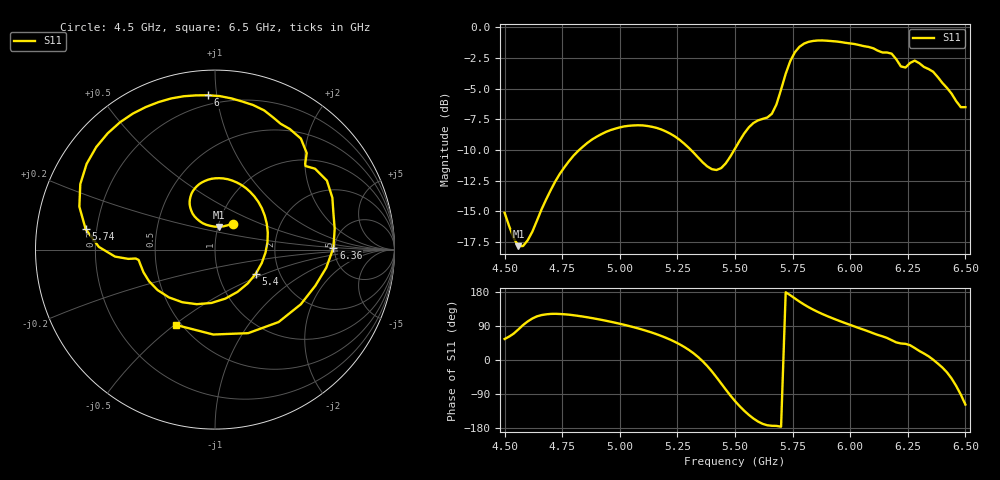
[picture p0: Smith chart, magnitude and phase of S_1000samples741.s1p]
! TOUCHSTONE file generated by CST MICROWAVE STUDIO
! Date and time: Sat Oct 29 05:40:44 2022
! Project name: L.cst
! Parameters = {Di=1.27; Epsilon_r=1.56; InnerDiameter=1.27; Length=2; Lf=10; Lg=60; OuterConductorThickness=0.2921; OuterDiameter=3.6; Wf=3; Wp=41.2; de=1.5; df=6.8; g=0.8; gx=0.809952; gy=1.67679; h=2.34; hf=1.524; px=12.5847; py=8.03278; w=9.7; wx=11.7748; wy=6.35599}
! Header version: 2018
! Port assignment regex: !\s*Touchstone port\s*([0-9]+)\s*=\s*(CST MWS port|CST DS port)\s*([0-9]+|Zmin|Zmax)\s*\(\"(.*)\"\)(\s*mode\s*([0-9]+))?.*
! Touchstone port assignment:
! Touchstone port 1 = CST MWS port 1 ("")
# GHz S DB R 50
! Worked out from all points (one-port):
!   101 points, 4.5 GHz to 6.5 GHz, reference 50 ohm
!   lowest |S11| = -17.8 dB at 4.56 GHz (marker M1), VSWR 1.29, Z = 50.4 + j13 ohm
!   |S11| at or under -10 dB: start of sweep to 4.823 GHz; 5.309 GHz to 5.496 GHz (187.2 MHz wide, 3.46 % of centre)
!   S11 on the Smith chart (normalised r, x): 4.5 GHz: 1.17, +0.35; 5.4 GHz: 1.52, -0.43; 5.74 GHz: 0.16, +0.08; 6 GHz: 0.14, +0.94; 6.36 GHz: 4.87, +0.17; 6.5 GHz: 0.47, -0.50
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4.5  -15.12 55.5
4.56  -17.84 80.8
4.76  -11.39 120.6
5  -8.15 95.6
5.14  -8.10 72.2
5.26  -9.17 41.3
5.34  -10.61 7.8
5.4  -11.56 -30.3
5.5  -9.88 -108.4
5.58  -7.79 -154.4
5.66  -7.04 -173.6
5.7  -5.06 -176.0
5.74  -2.74 171.0
5.76  -2.02 162.4
5.82  -1.17 139.2
5.86  -1.06 126.7
5.92  -1.11 111.0
6  -1.30 92.7
6.08  -1.59 75.3
6.18  -2.14 52.3
6.22  -3.18 43.6
6.26  -2.89 39.0
6.3  -2.91 23.9
6.36  -3.61 0.9
6.4  -4.52 -19.9
6.44  -5.40 -48.7
6.48  -6.50 -91.2
6.5  -6.50 -117.6
